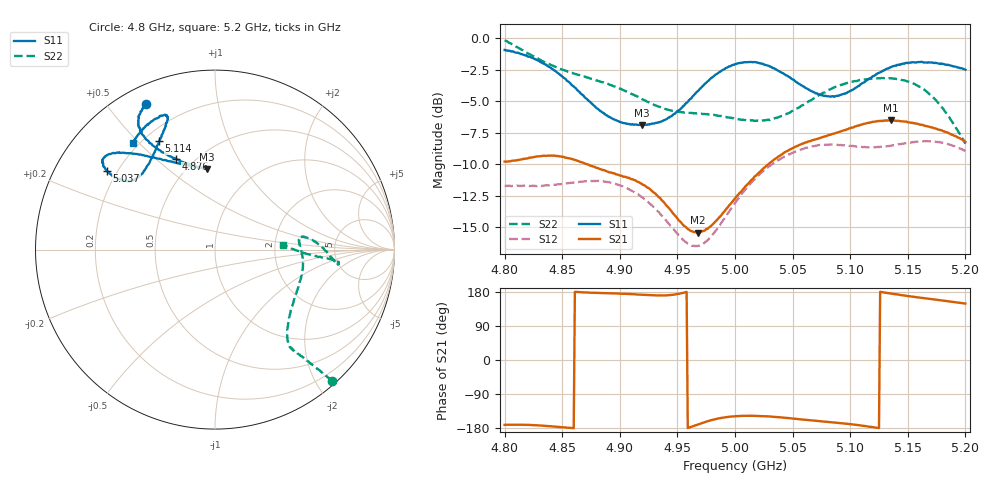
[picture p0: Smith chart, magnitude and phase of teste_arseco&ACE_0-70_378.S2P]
! Network Analyzer HP8722D
! Hewlett-Packard
! Data name: Linha & Wilkinson
! Saver's name: Rodrigo Anjos
! Comments: Teste da utilização de aquisição
! continua pelo VNA HP8722D
! Time and date: 8/5/2025 15:54
!  Frequency  S11  S21  S12  S22
# HZ  S  MA R 50
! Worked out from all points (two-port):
!   401 points, 4.8 GHz to 5.2 GHz, reference 50 ohm
!   highest |S21| = -6.52 dB at 5.135 GHz (marker M1); lowest = -15.4 dB at 4.968 GHz (marker M2)
!   |S21| within 3 dB of the highest: 4.82 GHz to 4.855 GHz (34.47 MHz wide, 0.712 % of centre); 5.036 GHz to end of sweep
!   lowest |S11| = -6.9 dB at 4.919 GHz (marker M3), VSWR 2.65, Z = 30.7 + j34.6 ohm
!   |S11| at or under -10 dB: nowhere
!   |S22| runs from -8.4 to -0.2 dB; largest |S21 - S12| = 0.83
!   S11 on the Smith chart (normalised r, x): 4.8 GHz: 0.08, +0.63; 4.876 GHz: 0.40, +0.58; 5.037 GHz: 0.16, +0.32; 5.114 GHz: 0.26, +0.58; 5.2 GHz: 0.18, +0.48
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4.8e9  0.8973 115.4  0.3239 -171.2  0.2596 -86.4  0.9782 -48.2
4.817e9  0.8575 119.7  0.3321 -171.0  0.2601 -82.8  0.8865 -49.1
4.834e9  0.7911 121.9  0.3416 -173.5  0.2603 -77.4  0.8062 -50.3
4.867e9  0.5979 117.2  0.3218 178.7  0.2696 -68.2  0.7085 -52.2
4.876e9  0.5482 113.3  0.3109 177.6  0.2708 -67.3  0.6892 -52.4
4.901e9  0.4636 100.0  0.285 175.0  0.2599 -68.1  0.6282 -50.1
4.919e9  0.4516 95.9  0.2647 172.4  0.2343 -70.0  0.574 -44.6
4.934e9  0.4631 100.2  0.2339 170.2  0.204 -70.3  0.534 -36.7
4.957e9  0.549 116.5  0.1788 179.0  0.1555 -59.3  0.507 -21.7
4.968e9  0.6176 123.8  0.1693 -170.2  0.1501 -46.8  0.5021 -15.0
4.979e9  0.6918 129.6  0.1796 -159.2  0.163 -34.6  0.4966 -9.5
5e9  0.7874 137.2  0.2313 -148.5  0.222 -21.9  0.478 -0.2
5.018e9  0.8024 141.5  0.2844 -147.3  0.2789 -19.3  0.4701 5.6
5.037e9  0.7447 143.8  0.3371 -150.8  0.3266 -19.6  0.4838 8.3
5.067e9  0.6138 141.7  0.3937 -159.5  0.3726 -22.1  0.5711 3.5
5.088e9  0.5894 132.5  0.4215 -165.4  0.3774 -25.2  0.6422 -3.2
5.114e9  0.6787 117.2  0.4594 -174.8  0.3688 -28.0  0.6864 -6.7
5.134e9  0.762 110.4  0.4707 176.2  0.3732 -30.2  0.6929 -6.1
5.135e9  0.766 110.3  0.4723 175.6  0.3746 -30.2  0.6932 -6.0
5.161e9  0.8041 112.0  0.4539 164.4  0.3896 -36.7  0.639 -4.6
5.179e9  0.7929 118.5  0.4315 157.2  0.385 -42.5  0.536 -3.2
5.2e9  0.7487 127.5  0.3879 148.9  0.3568 -48.3  0.3815 4.1
